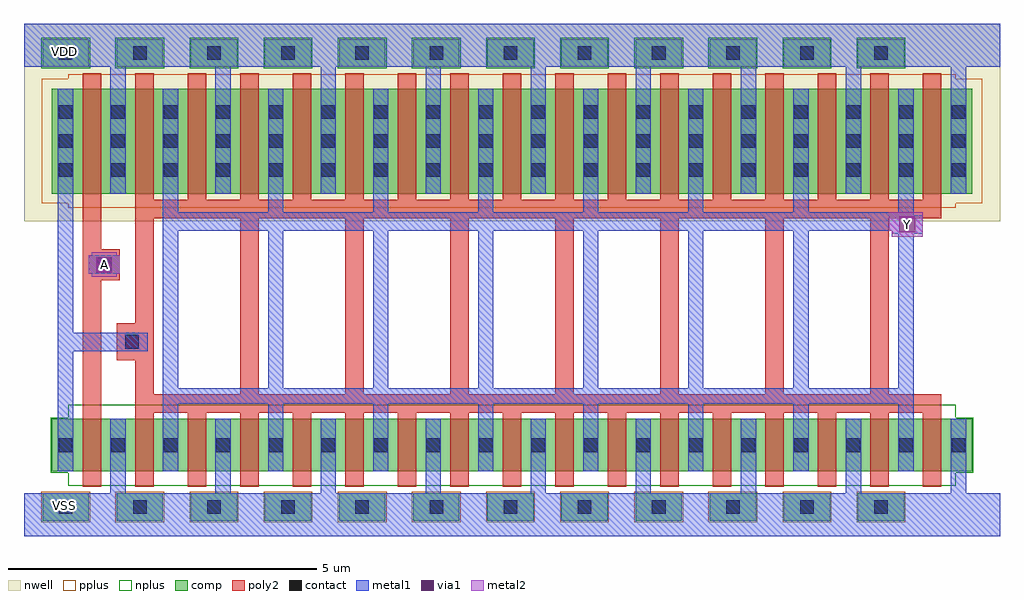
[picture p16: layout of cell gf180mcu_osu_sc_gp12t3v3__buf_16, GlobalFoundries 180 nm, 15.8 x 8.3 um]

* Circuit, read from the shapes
.subckt gf180mcu_osu_sc_gp12t3v3__buf_16 A VDD VSS Y
XM1 VSS A n1 VSS nfet_03v3 w=0.85u l=0.3u
XM2 Y n1 VSS VSS nfet_03v3 w=0.85u l=0.3u m=16
XM3 VDD A n1 VDD pfet_03v3 w=1.7u l=0.3u
XM4 Y n1 VDD VDD pfet_03v3 w=1.7u l=0.3u m=16
.ends

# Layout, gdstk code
import gdstk
lib = gdstk.Library(unit=1e-6, precision=1e-09)
def R(c, l, rs):  # rectangles x0, y0, x1, y1
    for r in rs: c.add(gdstk.rectangle(r[:2], r[2:], *l))
def A(c, l, x, y, w, h, nx, ny, dx, dy):  # array of equal rectangles
    R(c, l, [(x+i*dx, y+j*dy, x+i*dx+w, y+j*dy+h) for i in range(nx) for j in range(ny)])
nwell = (21, 0)
comp = (22, 0)
poly2 = (30, 0)
pplus = (31, 0)
nplus = (32, 0)
contact = (33, 0)
metal1 = (34, 0)
via1 = (35, 0)
metal2 = (36, 0)

gf180mcu_osu_sc_gp12t3v3 = lib.new_cell('gf180mcu_osu_sc_gp12t3v3__buf_16')
R(gf180mcu_osu_sc_gp12t3v3, nwell, [(0,5.1,15.8,8.3)])
A(gf180mcu_osu_sc_gp12t3v3, comp, 0.3, 0.25, 0.75, 0.45, 12, 2, 1.2, 7.35)
R(gf180mcu_osu_sc_gp12t3v3, comp, [(0.45,1.05,15.35,1.9), (0.45,5.55,15.35,7.25)])
A(gf180mcu_osu_sc_gp12t3v3, poly2, 1.8, 0.8, 0.3, 1.2, 16, 1, 0.85, 0)
A(gf180mcu_osu_sc_gp12t3v3, poly2, 3.5, 2.3, 0.3, 2.85, 7, 1, 1.7, 0)
A(gf180mcu_osu_sc_gp12t3v3, poly2, 1.8, 5.45, 0.3, 2.05, 16, 1, 0.85, 0)
R(gf180mcu_osu_sc_gp12t3v3, poly2, [(0.95,0.8,1.25,4.15), (1.8,2,14.85,2.3), (1.8,2.3,2.1,2.85), (1.5,2.85,2.1,3.45), (1.8,3.45,2.1,5.15), (0.95,4.15,1.55,4.65), (0.95,4.65,1.25,7.5), (1.8,5.15,14.85,5.45)])
A(gf180mcu_osu_sc_gp12t3v3, pplus, 0.28, 0.23, 0.79, 0.49, 12, 1, 1.2, 0)
R(gf180mcu_osu_sc_gp12t3v3, pplus, [(0.72,5.32,15.08,5.39), (0.29,5.39,15.51,7.41), (0.72,7.41,15.08,7.48)])
A(gf180mcu_osu_sc_gp12t3v3, nplus, 0.28, 7.58, 0.79, 0.49, 12, 1, 1.2, 0)
R(gf180mcu_osu_sc_gp12t3v3, nplus, [(0.72,0.82,15.08,1.03), (0.43,1.03,15.37,1.92), (0.72,1.92,15.08,2.13)])
A(gf180mcu_osu_sc_gp12t3v3, contact, 0.565, 0.365, 0.22, 0.22, 12, 2, 1.2, 7.35)
A(gf180mcu_osu_sc_gp12t3v3, contact, 0.565, 1.365, 0.22, 0.22, 18, 2, 0.85, 4.455)
A(gf180mcu_osu_sc_gp12t3v3, contact, 0.565, 6.29, 0.22, 0.22, 18, 2, 0.85, 0.47)
R(gf180mcu_osu_sc_gp12t3v3, contact, [(1.64,3.04,1.86,3.26), (1.19,4.29,1.41,4.51)])
A(gf180mcu_osu_sc_gp12t3v3, metal1, 1.4, 0.7, 0.25, 1.2, 9, 1, 1.7, 0)
A(gf180mcu_osu_sc_gp12t3v3, metal1, 2.25, 1.05, 0.25, 1.1, 8, 1, 1.7, 0)
A(gf180mcu_osu_sc_gp12t3v3, metal1, 2.25, 2.4, 0.25, 2.55, 7, 1, 1.7, 0)
A(gf180mcu_osu_sc_gp12t3v3, metal1, 2.25, 5.25, 0.25, 2, 8, 1, 1.7, 0)
A(gf180mcu_osu_sc_gp12t3v3, metal1, 1.4, 5.55, 0.25, 2.05, 9, 1, 1.7, 0)
R(gf180mcu_osu_sc_gp12t3v3, metal1, [(0,0,15.8,0.7), (0.55,1.05,0.8,3), (2.25,2.15,14.4,2.4), (14.15,2.4,14.4,4.9), (0.55,3,2,3.3), (0.55,3.3,0.8,7.25), (1.05,4.25,1.55,4.55), (14.05,4.9,14.55,4.95), (2.25,4.95,14.55,5.2), (2.25,5.2,14.4,5.25), (0,7.6,15.8,8.3)])
R(gf180mcu_osu_sc_gp12t3v3, via1, [(1.17,4.27,1.43,4.53), (14.17,4.92,14.43,5.18)])
R(gf180mcu_osu_sc_gp12t3v3, metal2, [(1.1,4.2,1.5,4.25), (1.05,4.25,1.55,4.55), (1.1,4.55,1.5,4.6), (14.05,4.85,14.55,4.95), (14,4.95,14.55,5.25)])
gf180mcu_osu_sc_gp12t3v3.add(gdstk.Label('A', (1.3,4.4), layer=36, texttype=10))
gf180mcu_osu_sc_gp12t3v3.add(gdstk.Label('Y', (14.3,5.05), layer=36, texttype=10))
gf180mcu_osu_sc_gp12t3v3.add(gdstk.Label('VDD', (0.65,7.85), layer=34, texttype=10))
gf180mcu_osu_sc_gp12t3v3.add(gdstk.Label('VSS', (0.65,0.5), layer=34, texttype=10))

lib.write_gds('gf180mcu_osu_sc_gp12t3v3__buf_16.gds')
